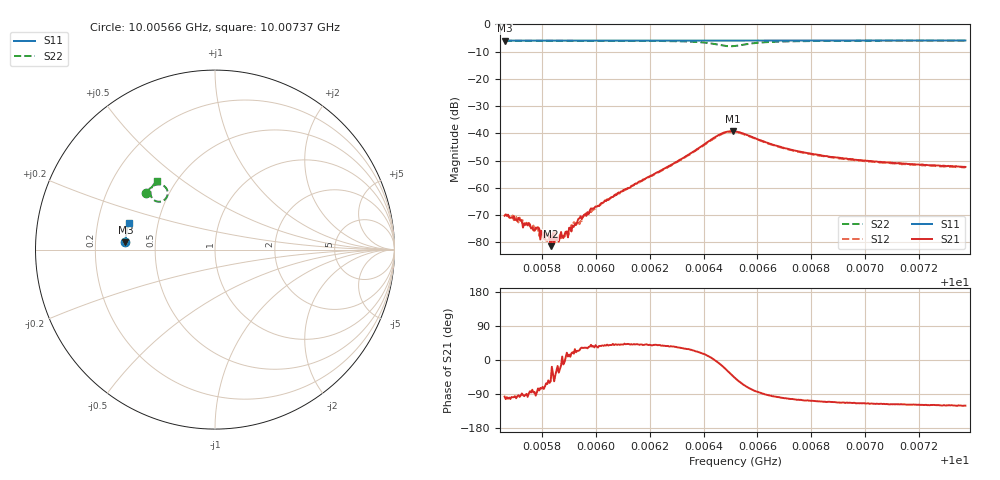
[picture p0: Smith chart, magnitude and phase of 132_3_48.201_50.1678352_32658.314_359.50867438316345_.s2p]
#  HZ  S  RI  R  50.00
! Rohde & Schwarz Vector Network Analyzer
! Rohde-Schwarz,ZNB20-2Port,1311601062101988,3.16
! Created: UTC 3/20/2024, 11:41:58 AM
! freq[Hz]  re:S11  im:S11  re:S21  im:S21  re:S12  im:S12  re:S22  im:S22
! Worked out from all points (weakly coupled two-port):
!   401 points, 10.00566 GHz to 10.00737 GHz, reference 50 ohm
!   highest |S21| = -39.21 dB at 10.00651 GHz (marker M1); lowest = -81.4 dB at 10.00583 GHz (marker M2)
!   lowest |S11| = -6.0 dB at 10.00566 GHz (marker M3), VSWR 3.01, Z = 16.7 + j1.8 ohm
!   |S11| at or under -10 dB: nowhere
!   |S22| runs from -8.1 to -6.0 dB; largest |S21 - S12| = 0.00068
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1.0005661e10  -0.4993 0.0405  -3.53e-05 -0.000306  -4.91e-05 -0.000313  -0.3829 0.317
1.0005725e10  -0.499 0.0448  6.72e-06 -0.00024  5.46e-06 -0.000257  -0.38 0.3209
1.0005768e10  -0.4988 0.0475  1.13e-05 -0.000166  8.56e-06 -0.000203  -0.3778 0.3236
1.000578e10  -0.4988 0.0485  1.33e-05 -0.000185  4.56e-05 -0.000171  -0.3773 0.3243
1.0005802e10  -0.4987 0.0498  4.83e-05 -0.000141  5.9e-05 -0.000141  -0.376 0.3258
1.0005819e10  -0.4987 0.0509  6.18e-05 -0.000125  5.28e-05 -9.27e-05  -0.3751 0.3268
1.0005832e10  -0.4986 0.0518  4.76e-05 -7.07e-05  9.28e-05 -8.4e-05  -0.3744 0.3276
1.0005853e10  -0.4985 0.0533  9.72e-05 -5.12e-05  0.000101 -6.91e-05  -0.3731 0.329
1.0005887e10  -0.4984 0.0553  0.000155 1.86e-05  0.000152 4.02e-05  -0.3715 0.3312
1.0005905e10  -0.4983 0.0564  0.000183 2.75e-05  0.000165 4.74e-05  -0.3703 0.3324
1.0005913e10  -0.4982 0.057  0.000192 7.18e-05  0.000184 5.08e-05  -0.3698 0.333
1.0005947e10  -0.498 0.0592  0.000224 0.000145  0.000221 0.000114  -0.3678 0.3352
1.0005964e10  -0.4978 0.0603  0.000259 0.000165  0.000288 0.000194  -0.3667 0.3364
1.0006072e10  -0.4971 0.0673  0.000564 0.000495  0.000534 0.000492  -0.3589 0.3441
1.0006234e10  -0.496 0.0778  0.00152 0.00126  0.00147 0.00129  -0.3408 0.3569
1.0006457e10  -0.493 0.0919  0.00925 -0.00136  0.00904 -0.000864  -0.2646 0.3253
1.0006508e10  -0.4925 0.0947  0.00813 -0.00735  0.00835 -0.00671  -0.2859 0.2739
1.0006517e10  -0.4926 0.0951  0.00731 -0.00799  0.00758 -0.00739  -0.2949 0.2695
1.0006697e10  -0.4915 0.1067  -0.00099 -0.00536  -0.000705 -0.00527  -0.36 0.3216
1.0006804e10  -0.4902 0.1137  -0.00127 -0.004  -0.00107 -0.00397  -0.3551 0.3403
1.0007091e10  -0.4863 0.1317  -0.00132 -0.00258  -0.00118 -0.00262  -0.3386 0.3661
1.0007373e10  -0.4817 0.1493  -0.00123 -0.00208  -0.0011 -0.0021  -0.3234 0.3828
